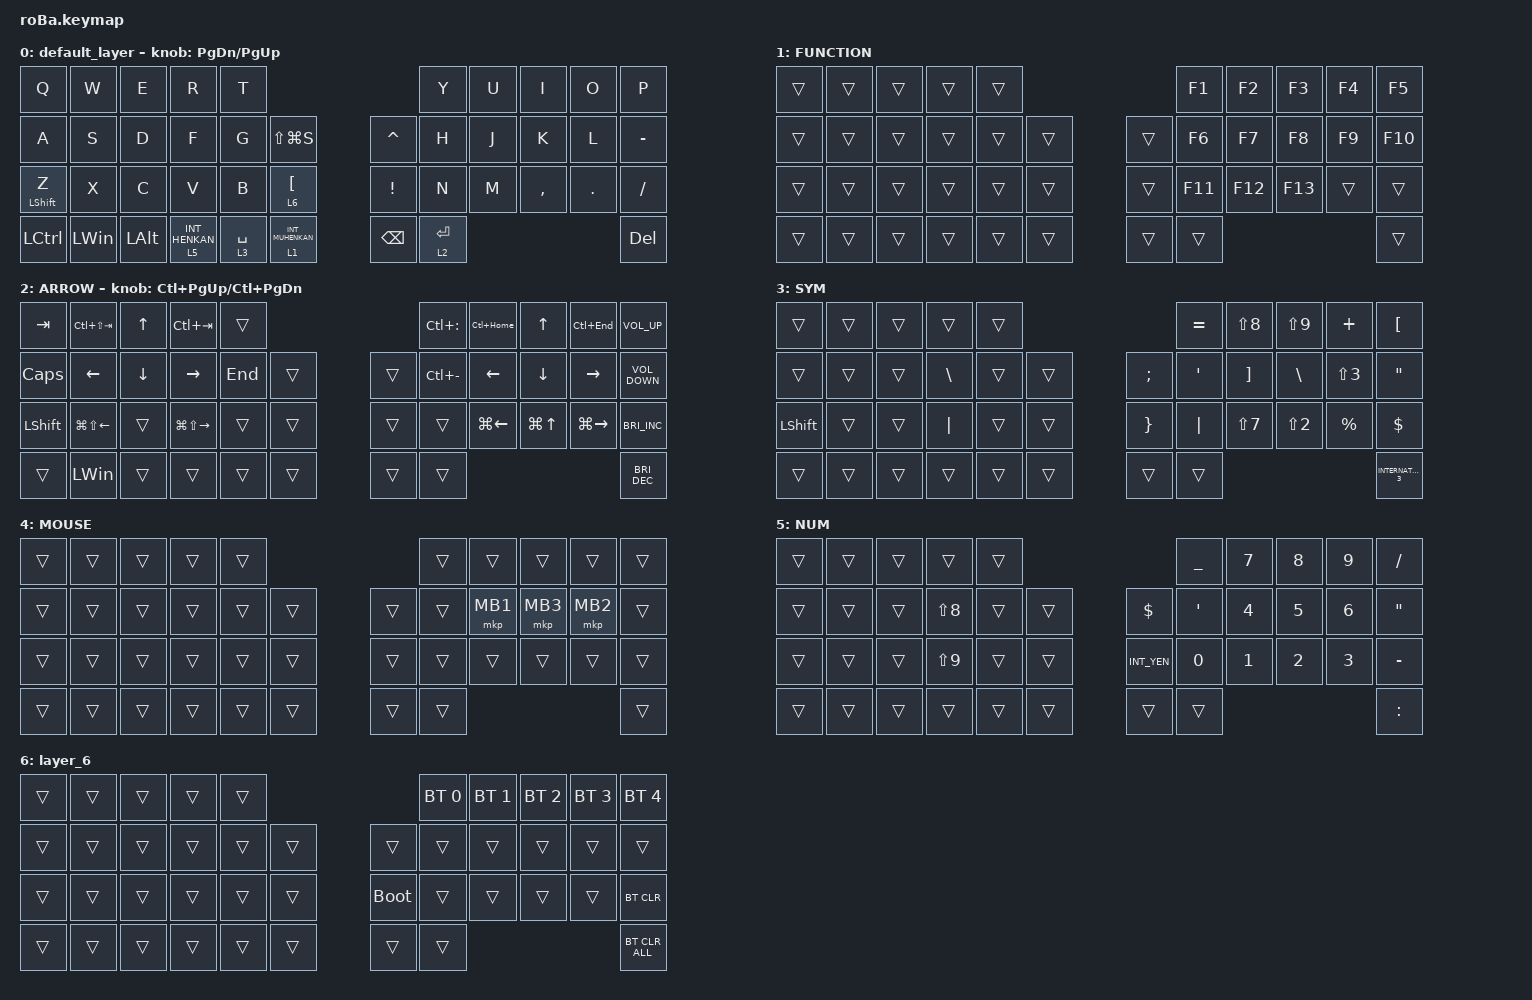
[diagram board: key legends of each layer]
#include <behaviors.dtsi>
#include <dt-bindings/zmk/bt.h>
#include <dt-bindings/zmk/keys.h>
#include <dt-bindings/zmk/pointing.h>

&mt {
    flavor = "balanced";
    quick-tap-ms = <0>;
};

&trackball {
    automouse-layer = <4>;
    scroll-layers = <5>;

    // arrows {
    //     layers = <3>;
    //     bindings =
    //         <&kp RIGHT_ARROW>,
    //         <&kp LEFT_ARROW>,
    //         <&kp UP_ARROW>,
    //         <&kp DOWN_ARROW>;
    //     tick = <10>;
    //     wait-ms = <5>;
    //     tap-ms = <5>;
    // };
};

/ {
    combos {
        compatible = "zmk,combos";

        tab {
            bindings = <&kp TAB>;
            key-positions = <11 10>;
        };

        shift_tab {
            bindings = <&kp LS(TAB)>;
            key-positions = <0 22>;
        };

        escape {
            bindings = <&kp ESCAPE>;
            key-positions = <0 1>;
        };

        shift_caps {
            bindings = <&kp LS(CAPSLOCK)>;
            key-positions = <22 10>;
        };
    };

    macros {
        to_layer_0: to_layer_0 {
            compatible = "zmk,behavior-macro-one-param";
            #binding-cells = <1>;
            bindings = <&to 0 &macro_param_1to1 &kp MACRO_PLACEHOLDER>;
            label = "TO_LAYER_0";
        };
    };

    behaviors {
        lt_to_layer_0: lt_to_layer_0 {
            compatible = "zmk,behavior-hold-tap";
            label = "LAYER_TAP_TO_0";
            bindings = <&mo>, <&to_layer_0>;

            #binding-cells = <2>;
            tapping-term-ms = <200>;
        };
    };

    keymap {
        compatible = "zmk,keymap";

        default_layer {
            bindings = <
&kp Q             &kp W         &kp E         &kp R                        &kp T                                                                       &kp Y        &kp U  &kp I      &kp O    &kp P
&kp A             &kp S         &kp D         &kp F                        &kp G                   &kp LS(LG(S))                      &kp CARET        &kp H        &kp J  &kp K      &kp L    &kp MINUS
&mt LEFT_SHIFT Z  &kp X         &kp C         &kp V                        &kp B                   &lt_to_layer_0 6 LEFT_BRACKET      &kp EXCLAMATION  &kp N        &kp M  &kp COMMA  &kp DOT  &kp SLASH
&kp LCTRL         &kp LEFT_WIN  &kp LEFT_ALT  &lt_to_layer_0 5 INT_HENKAN  &lt_to_layer_0 3 SPACE  &lt_to_layer_0 1 INT_MUHENKAN      &kp BACKSPACE    &lt 2 ENTER                             &kp DEL
            >;

            sensor-bindings = <&inc_dec_kp PAGE_DOWN PAGE_UP>;
        };

        FUNCTION {
            bindings = <
&trans  &trans  &trans  &trans  &trans                      &kp F1   &kp F2   &kp F3   &kp F4  &kp F5
&trans  &trans  &trans  &trans  &trans  &trans      &trans  &kp F6   &kp F7   &kp F8   &kp F9  &kp F10
&trans  &trans  &trans  &trans  &trans  &trans      &trans  &kp F11  &kp F12  &kp F13  &trans  &trans
&trans  &trans  &trans  &trans  &trans  &trans      &trans  &trans                             &trans
            >;
        };

        ARROW {
            bindings = <
&kp TAB         &kp LC(LS(TAB))         &kp UP_ARROW    &kp LC(TAB)              &trans                       &kp LC(COLON)  &kp LC(HOME)    &kp UP_ARROW    &kp LC(END)      &kp C_VOLUME_UP
&kp CAPSLOCK    &kp LEFT_ARROW          &kp DOWN_ARROW  &kp RIGHT_ARROW          &kp END  &trans      &trans  &kp LC(MINUS)  &kp LEFT_ARROW  &kp DOWN_ARROW  &kp RIGHT_ARROW  &kp C_VOLUME_DOWN
&kp LEFT_SHIFT  &kp LG(LS(LEFT_ARROW))  &trans          &kp LG(LS(RIGHT_ARROW))  &trans   &trans      &trans  &trans         &kp LG(LEFT)    &kp LG(UP)      &kp LG(RIGHT)    &kp C_BRIGHTNESS_INC
&trans          &kp LEFT_WIN            &trans          &trans                   &trans   &trans      &trans  &trans                                                          &kp C_BRIGHTNESS_DEC
            >;

            sensor-bindings = <&inc_dec_kp LC(PAGE_UP) LC(PAGE_DOWN)>;
        };

        SYM {
            bindings = <
&trans          &trans  &trans  &trans    &trans                             &kp EQUAL       &kp LS(N8)  &kp LS(N9)  &kp PLUS     &kp LEFT_BRACKET
&trans          &trans  &trans  &kp BSLH  &trans  &trans      &kp SEMICOLON  &kp APOSTROPHE  &kp RBKT    &kp BSLH    &kp LS(N3)   &kp DOUBLE_QUOTES
&kp LEFT_SHIFT  &trans  &trans  &kp PIPE  &trans  &trans      &kp RBRC       &kp PIPE        &kp LS(N7)  &kp LS(N2)  &kp PERCENT  &kp DOLLAR
&trans          &trans  &trans  &trans    &trans  &trans      &trans         &trans                                               &kp INTERNATIONAL_3
            >;
        };

        MOUSE {
            bindings = <
&trans  &trans  &trans  &trans  &trans                      &trans  &trans    &trans    &trans    &trans
&trans  &trans  &trans  &trans  &trans  &trans      &trans  &trans  &mkp MB1  &mkp MB3  &mkp MB2  &trans
&trans  &trans  &trans  &trans  &trans  &trans      &trans  &trans  &trans    &trans    &trans    &trans
&trans  &trans  &trans  &trans  &trans  &trans      &trans  &trans                                &trans
            >;
        };

        NUM {
            bindings = <
&trans  &trans  &trans  &trans      &trans                           &kp UNDER       &kp N7  &kp N8  &kp N9  &kp SLASH
&trans  &trans  &trans  &kp LS(N8)  &trans  &trans      &kp DOLLAR   &kp APOSTROPHE  &kp N4  &kp N5  &kp N6  &kp DOUBLE_QUOTES
&trans  &trans  &trans  &kp LS(N9)  &trans  &trans      &kp INT_YEN  &kp N0          &kp N1  &kp N2  &kp N3  &kp MINUS
&trans  &trans  &trans  &trans      &trans  &trans      &trans       &trans                                  &kp COLON
            >;
        };

        layer_6 {
            bindings = <
&trans  &trans  &trans  &trans  &trans                           &bt BT_SEL 0  &bt BT_SEL 1  &bt BT_SEL 2  &bt BT_SEL 3  &bt BT_SEL 4
&trans  &trans  &trans  &trans  &trans  &trans      &trans       &trans        &trans        &trans        &trans        &trans
&trans  &trans  &trans  &trans  &trans  &trans      &bootloader  &trans        &trans        &trans        &trans        &bt BT_CLR
&trans  &trans  &trans  &trans  &trans  &trans      &trans       &trans                                                  &bt BT_CLR_ALL
            >;
        };
    };
};
